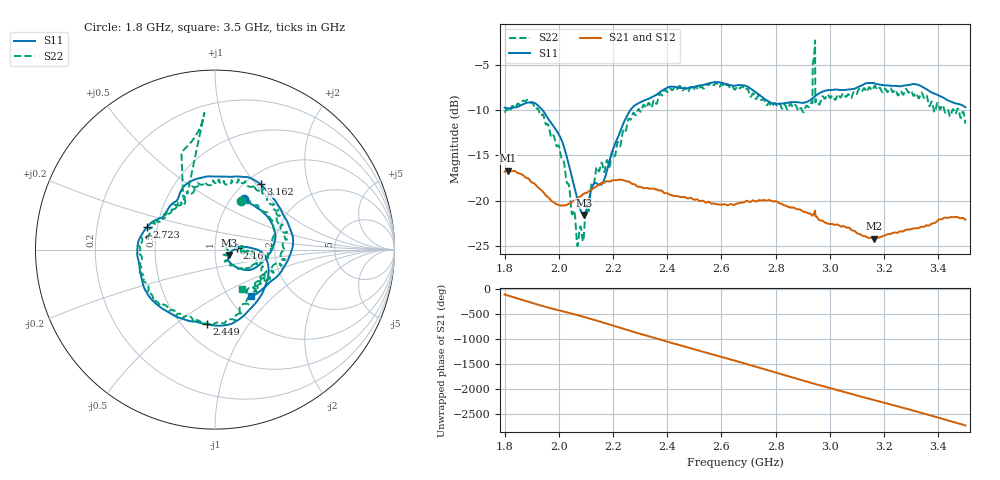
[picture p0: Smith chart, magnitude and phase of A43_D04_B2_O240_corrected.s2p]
! Created with skrf 1.9.0 (http://scikit-rf.org).
# Hz S RI R 50.0
!freq ReS11 ImS11 ReS21 ImS21 ReS12 ImS12 ReS22 ImS22
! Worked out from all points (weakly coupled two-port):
!   1601 points, 1.8 GHz to 3.5 GHz, reference 50 ohm
!   highest |S21| = -16.68 dB at 1.812 GHz (marker M1); lowest = -24.2 dB at 3.162 GHz (marker M2)
!   lowest |S11| = -21.6 dB at 2.092 GHz (marker M3), VSWR 1.18, Z = 58.3 - j3.53 ohm
!   |S11| at or under -10 dB: 1.94 GHz to 2.264 GHz (324.8 MHz wide, 15.5 % of centre)
!   |S22| runs from -25.0 to -2.3 dB; largest |S21 - S12| = 0.0023
!   S11 on the Smith chart (normalised r, x): 1.8 GHz: 1.14, +0.72; 2.16 GHz: 1.28, +0.02; 2.449 GHz: 0.65, -0.65; 2.723 GHz: 0.44, +0.13; 3.162 GHz: 1.16, +1.06; 3.5 GHz: 1.27, -0.73
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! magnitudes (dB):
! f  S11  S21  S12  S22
! 1.8 GHz  -9.7  -16.8  -16.8  -10.3
! 1.812 GHz  -9.8  -16.7  -16.7  -9.9
! 1.884 GHz  -9.2  -17.5  -17.5  -8.9
! 1.942 GHz  -10.1  -19.0  -19.0  -10.5
! 2.013 GHz  -13.5  -20.5  -20.5  -15.5
! 2.067 GHz  -19.6  -19.7  -19.7  -24.6
! 2.084 GHz  -21.3  -19.5  -19.4  -23.3
! 2.092 GHz  -21.6  -19.2  -19.3  -23.9
! 2.128 GHz  -18.2  -18.6  -18.6  -18.2
! 2.16 GHz  -18.1  -18.0  -18.0  -15.9
! 2.26 GHz  -10.2  -17.9  -17.9  -11.0
! 2.367 GHz  -8.2  -18.9  -18.8  -8.6
! 2.449 GHz  -7.6  -19.6  -19.6  -7.4
! 2.65 GHz  -7.3  -20.4  -20.4  -7.8
! 2.723 GHz  -8.0  -20.1  -20.0  -8.6
! 2.901 GHz  -9.2  -21.2  -21.2  -10.2
! 2.934 GHz  -8.8  -21.6  -21.5  -9.2
! 2.945 GHz  -8.5  -21.1  -21.1  -2.3
! 2.957 GHz  -8.2  -22.0  -21.9  -9.2
! 3.162 GHz  -7.0  -24.2  -24.1  -7.5
! 3.217 GHz  -7.3  -23.7  -23.6  -7.8
! 3.5 GHz  -9.7  -22.1  -22.1  -11.5
